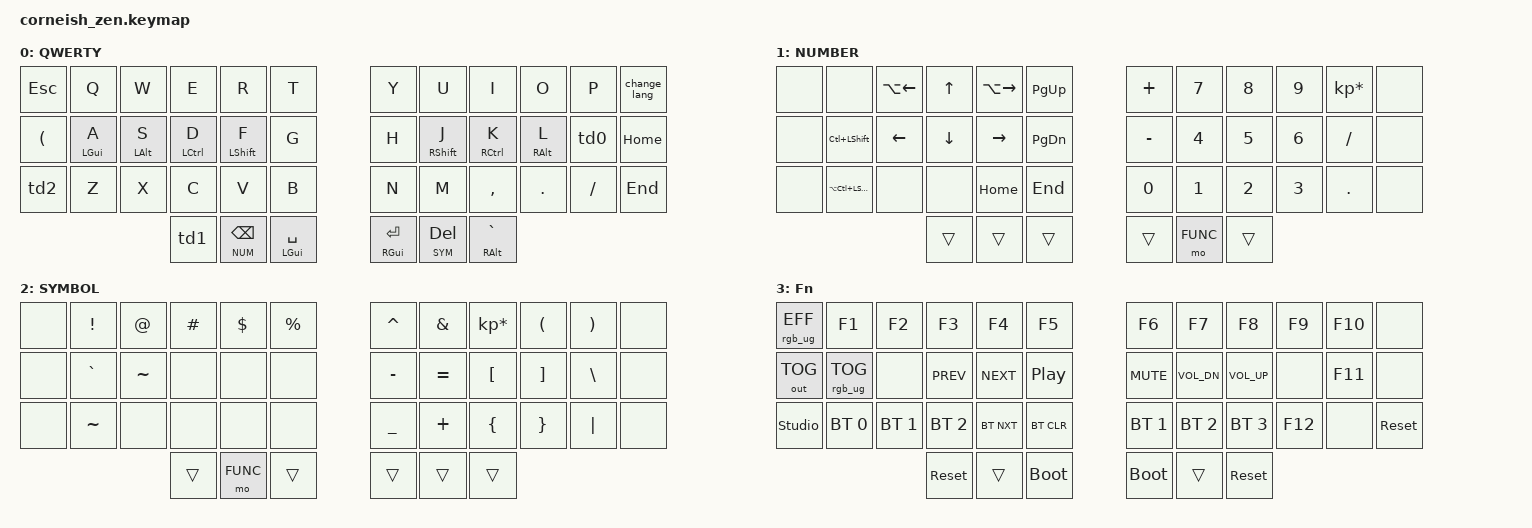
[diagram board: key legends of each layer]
/*
 * Copyright (c) 2020 The ZMK Contributors
 *
 * SPDX-License-Identifier: MIT
 */

#include <behaviors.dtsi>
#include <dt-bindings/zmk/bt.h>
#include <dt-bindings/zmk/keys.h>
#include <dt-bindings/zmk/outputs.h>
#include <dt-bindings/zmk/rgb.h>

// LAYERS

#define DEFAULT 0
#define NUM     1
#define SYM     2
#define FUNC    3

// MACROS

#define SUPER LC(LSHIFT)
#define SUPER2 LA(LC(LSHIFT))

/* urob's timeless Homerow mods */
#include "zmk-helpers/helper.h"
#include "zmk-helpers/key-labels/36.h"                                      // key-position labels

#define QUICK_TAP_MS 175
#define KEYS_L LT0 LT1 LT2 LT3 LT4 LM0 LM1 LM2 LM3 LM4 LB0 LB1 LB2 LB3 LB4  // left hand
#define KEYS_R RT0 RT1 RT2 RT3 RT4 RM0 RM1 RM2 RM3 RM4 RB0 RB1 RB2 RB3 RB4  // right hand
#define THUMBS LH2 LH1 LH0 RH0 RH1 RH2                                      // thumbs on 36+ keys


#define MAKE_HRM(NAME, HOLD, TAP, TRIGGER_POS) \
    ZMK_HOLD_TAP(NAME, \
        flavor = "balanced"; \
        tapping-term-ms = <280>; \
        quick-tap-ms = <QUICK_TAP_MS>; \
        require-prior-idle-ms = <150>; \
        bindings = <HOLD>, <TAP>; \
        hold-trigger-key-positions = <TRIGGER_POS>; \
        hold-trigger-on-release; \
    )
MAKE_HRM(hml, &kp, &kp, KEYS_R THUMBS)  // left-hand HRMs
MAKE_HRM(hmr, &kp, &kp, KEYS_L THUMBS)  // right-hand HRMs

/ {
    chosen {
        zmk,matrix_transform = &default_transform;

        // zmk,matrix_transform = &five_column_transform;
    };
};

/ {
    behaviors {
        hm: homerow_mods {
            compatible = "zmk,behavior-hold-tap";
            label = "HOMEROW_MODS";
            #binding-cells = <2>;
            tapping-term-ms = <250>;
            quick-tap-ms = <0>;
            flavor = "tap-preferred";
            bindings = <&kp>, <&kp>;
        };

        td0: tap_dance_0 {
            compatible = "zmk,behavior-tap-dance";
            label = "TAP_DANCE_0";
            #binding-cells = <0>;
            tapping-term-ms = <200>;
            bindings = <&hmr RGUI SQT>, <&kp SEMI>;
        };

        td1: tap_dance_1 {
            compatible = "zmk,behavior-tap-dance";
            label = "TAP_DANCE_1";
            #binding-cells = <0>;
            tapping-term-ms = <200>;
            bindings = <&mt LCTRL TAB>, <&kp ESC>;
        };

        td2: tap_dance_w {
            compatible = "zmk,behavior-tap-dance";
            label = "TAP_DANCE_2";
            #binding-cells = <0>;
            tapping-term-ms = <200>;
            bindings = <&kp UNDER>, <&kp CAPS>;
        };
    };

    combos {
        compatible = "zmk,combos";

        combo_cword {
            timeout-ms = <50>;
            key-positions = <16 19>;
            bindings = <&caps_word>;
        };

        combo_vimwq {
            timeout-ms = <50>;
            key-positions = <1 2>;
            bindings = <&vim_quit>;
        };
    };

    macros {
        vim_quit: vim_quit {
            label = "ZM_vim_quit";
            compatible = "zmk,behavior-macro";
            #binding-cells = <0>;
            bindings = <&macro_tap>, <&kp ESC &kp COLON &kp W &kp Q>;
        };

        change_lang: change_lang {
            compatible = "zmk,behavior-macro";
            #binding-cells = <0>;
            bindings = <&kp LA(LEFT_SHIFT)>;
            label = "CHANGE_LANG";
        };
    };

    keymap {
        compatible = "zmk,keymap";

        default_layer {
            display-name = "QWERTY";

            // --------------------------------------------------------------------------------
            // |  ESC  |  Q  |  W  |  E  |  R  |  T  |       |  Y  |  U   |  I  |  O  |  P  | LANG |
            // | PG_UP |  A  |  S  |  D  |  F  |  G  |       |  H  |  J   |  K  |  L  |  ;' | HOME | 
            // | PG_DN |  Z  |  X  |  C  |  V  |  B  |       |  N  |  M   |  ,  |  .  |  /  | END  |
            //                    | TAB | lr1/BKSP | SPC |   | ENT | lr2/DEL  | ALT' |

            bindings = <
&kp ESC    &kp Q       &kp W       &kp E        &kp R         &kp T             &kp Y         &kp U         &kp I           &kp O       &kp P     &change_lang
&kp LPAR  &hml LGUI A &hml LALT S &hml LCTRL D   &hml LSHIFT F &kp G             &kp H         &hmr RSHIFT J  &hmr RCTRL K   &hmr RALT L  &td0      &kp HOME
&td2       &kp Z       &kp X       &kp C        &kp V         &kp B             &kp N         &kp M         &kp COMMA       &kp DOT     &kp FSLH  &kp END
                                   &td1         &lt NUM BSPC  &mt LGUI SPACE    &mt RGUI RET  &lt SYM DEL   &mt RALT GRAVE
            >;
        };

        num_layer {
            display-name = "NUMBER";

            // -----------------------------------------------------------------------------------------
            // |      |     | LALT|  UP | RALT| PG_UP |   |  +  |  7  |  8  |  9  | MULT |  |
            // |      |     | LFT | DWN | RGT | PG_DN |   |  -  |  4  |  5  |  6  |  /   |  |
            // |      |     |     |     |     | HOME  |   |  0  |  1  |  2  |  3  |  .   |  |
            //                    |     |     | END   |   |     | lr3 |     |

            bindings = <
&none  &none       &kp LA(LEFT)  &kp UP    &kp LA(RIGHT)  &kp PG_UP    &kp PLUS   &kp N7    &kp N8  &kp N9  &kp KP_MULTIPLY  &none
&none  &kp SUPER   &kp LEFT      &kp DOWN  &kp RIGHT      &kp PG_DN    &kp MINUS  &kp N4    &kp N5  &kp N6  &kp SLASH        &none
&none  &kp SUPER2  &none         &none     &kp HOME       &kp END      &kp N0     &kp N1    &kp N2  &kp N3  &kp DOT          &none
                                 &trans    &trans         &trans       &trans     &mo FUNC  &trans
            >;
        };

        sym_layer {
            display-name = "SYMBOL";

            // -----------------------------------------------------------------------------------------
            // |  TAB |  !  |  @  |  #  |  $  |  %  |   |  ^  |  &  | MULT|  (  |  )  |      |
            // | CTRL |  '  |     |     |     |     |   |  -  |  =  |  [  |  ]  |  \  |      |
            // | SHFT |  ~  |     |     |     |     |   |  _  |  +  |  {  |  }  | "|" |      |
            //                    |     | lr3 |     |   |     |     |     |

            bindings = <
&none  &kp EXCL   &kp AT     &kp HASH  &kp DLLR  &kp PRCNT    &kp CARET  &kp AMPS   &kp KP_MULTIPLY  &kp LPAR  &kp RPAR  &none
&none  &kp GRAVE  &kp TILDE  &none     &none     &none        &kp MINUS  &kp EQUAL  &kp LBKT         &kp RBKT  &kp BSLH  &none
&none  &kp TILDE  &none      &none     &none     &none        &kp UNDER  &kp PLUS   &kp LBRC         &kp RBRC  &kp PIPE  &none
                             &trans    &mo FUNC  &trans       &trans     &trans     &trans
            >;
        };

        func_layer {
            display-name = "Fn";
            bindings = <
&rgb_ug RGB_EFF  &kp F1           &kp F2        &kp F3        &kp F4      &kp F5              &kp F6        &kp F7        &kp F8        &kp F9   &kp F10  &none
&out OUT_TOG     &rgb_ug RGB_TOG  &none         &kp C_PREV    &kp C_NEXT  &kp C_PLAY_PAUSE    &kp C_MUTE    &kp C_VOL_DN  &kp C_VOL_UP  &none    &kp F11  &none
&studio_unlock   &bt BT_SEL 0     &bt BT_SEL 1  &bt BT_SEL 2  &bt BT_NXT  &bt BT_CLR          &bt BT_SEL 1  &bt BT_SEL 2  &bt BT_SEL 3  &kp F12  &none    &sys_reset
                                                &sys_reset    &trans      &bootloader         &bootloader   &trans        &sys_reset
            >;
        };
    };
};
